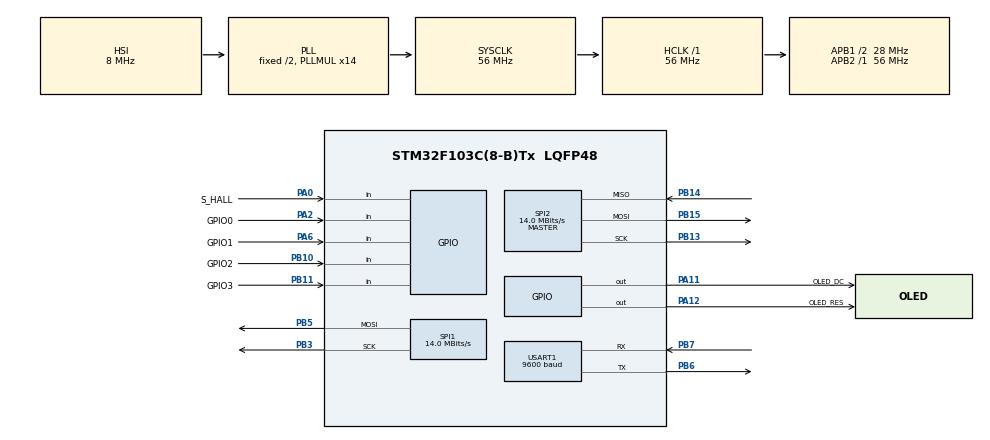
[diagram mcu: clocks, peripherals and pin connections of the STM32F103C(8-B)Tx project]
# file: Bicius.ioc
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Dma.Request0=USART1_RX
Dma.USART1_RX.0.Direction=DMA_PERIPH_TO_MEMORY
Dma.USART1_RX.0.Instance=DMA1_Channel5
Dma.USART1_RX.0.MemDataAlignment=DMA_MDATAALIGN_BYTE
Dma.USART1_RX.0.MemInc=DMA_MINC_ENABLE
Dma.USART1_RX.0.Mode=DMA_CIRCULAR
Dma.USART1_RX.0.PeriphDataAlignment=DMA_PDATAALIGN_BYTE
Dma.USART1_RX.0.PeriphInc=DMA_PINC_DISABLE
Dma.USART1_RX.0.Priority=DMA_PRIORITY_LOW
FATFS._FS_LOCK=1
FATFS._FS_MINIMIZE=2
FATFS._FS_NORTC=1
FATFS._FS_TINY=1
FATFS._NORTC_MDAY=26
FATFS._NORTC_MON=8
FATFS._NORTC_YEAR=1996
FATFS._USE_FASTSEEK=0
FATFS._USE_MKFS=0
Mcu.Family=STM32F1
Mcu.Name=STM32F103C(8-B)Tx
Mcu.Package=LQFP48
NVIC.DMA1_Channel5_IRQn=true\:0\:0\:false\:false\:true\:false\:true
NVIC.PriorityGroup=NVIC_PRIORITYGROUP_4
PA0-WKUP.GPIO_Label=S_HALL
PA0-WKUP.Signal=GPIO_Input
PA11.GPIO_Label=OLED_DC
PA11.Signal=GPIO_Output
PA12.GPIO_Label=OLED_RES
PA12.Signal=GPIO_Output
PA13.Mode=Serial_Wire
PA13.Signal=SYS_JTMS-SWDIO
PA14.Mode=Serial_Wire
PA14.Signal=SYS_JTCK-SWCLK
PA2.GPIO_Label=GPIO0
PA2.GPIO_PuPd=GPIO_PULLUP
PA2.Signal=GPIO_Input
PA6.GPIO_Label=GPIO1
PA6.GPIO_PuPd=GPIO_PULLUP
PA6.Signal=GPIO_Input
PB10.GPIO_Label=GPIO2
PB10.GPIO_PuPd=GPIO_PULLUP
PB10.Signal=GPIO_Input
PB11.GPIO_Label=GPIO3
PB11.GPIO_PuPd=GPIO_PULLUP
PB11.Signal=GPIO_Input
PB13.Mode=Full_Duplex_Master
PB13.Signal=SPI2_SCK
PB14.Mode=Full_Duplex_Master
PB14.Signal=SPI2_MISO
PB15.Mode=Full_Duplex_Master
PB15.Signal=SPI2_MOSI
PB3.Mode=TX_Only_Simplex_Unidirect_Master
PB3.Signal=SPI1_SCK
PB5.Mode=TX_Only_Simplex_Unidirect_Master
PB5.Signal=SPI1_MOSI
PB6.Mode=Asynchronous
PB6.Signal=USART1_TX
PB7.Mode=Asynchronous
PB7.Signal=USART1_RX
ProjectManager.HeapSize=0x200
ProjectManager.StackSize=0x400
ProjectManager.TargetToolchain=STM32CubeIDE
RCC.AHBFreq_Value=56000000
RCC.APB1CLKDivider=RCC_HCLK_DIV2
RCC.APB1Freq_Value=28000000
RCC.APB1TimFreq_Value=56000000
RCC.APB2Freq_Value=56000000
RCC.APB2TimFreq_Value=56000000
RCC.HCLKFreq_Value=56000000
RCC.PLLMUL=RCC_PLL_MUL14
RCC.SYSCLKFreq_VALUE=56000000
RCC.SYSCLKSource=RCC_SYSCLKSOURCE_PLLCLK
RCC.USBFreq_Value=56000000
SPI1.BaudRatePrescaler=SPI_BAUDRATEPRESCALER_4
SPI1.CalculateBaudRate=14.0 MBits/s
SPI1.Direction=SPI_DIRECTION_2LINES
SPI1.Mode=SPI_MODE_MASTER
SPI1.VirtualType=VM_MASTER
SPI2.BaudRatePrescaler=SPI_BAUDRATEPRESCALER_2
SPI2.CalculateBaudRate=14.0 MBits/s
SPI2.Direction=SPI_DIRECTION_2LINES
SPI2.Mode=SPI_MODE_MASTER
SPI2.VirtualType=VM_MASTER
USART1.BaudRate=9600
USART1.Mode=MODE_RX
USART1.VirtualMode=VM_ASYNC
VP_FATFS_VS_Generic.Mode=User_defined
board=custom

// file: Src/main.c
/* USER CODE BEGIN Header */
/**
  ******************************************************************************
  * @file           : main.c
  * @brief          : Main program body
  ******************************************************************************
  * @attention
  *
  * <h2><center>&copy; Copyright (c) 2019 STMicroelectronics.
  * All rights reserved.</center></h2>
  *
  * This software component is licensed by ST under BSD 3-Clause license,
  * the "License"; You may not use this file except in compliance with the
  * License. You may obtain a copy of the License at:
  *                        opensource.org/licenses/BSD-3-Clause
  *
  ******************************************************************************
  */
/* USER CODE END Header */

#include "main.h"
#include "fatfs.h"

/* USER CODE BEGIN Includes */
#include "App/variables_globales.h"
#include "App/tarea_OLED.h"
#include "App/tarea_TIMER.h"
#include "App/tarea_GPS.h"
#include "App/tarea_MAIN.h"
#include "App/tarea_GPIO.h"
#include "App/tarea_SD.h"
#include "App/User_interface.h"
#include "printf.h"
/* USER CODE END Includes */

/* USER CODE BEGIN PD */
#define WCET_TIMER	   1100
#define WCET_GPIO	   1400
#define WCET_MAIN	  15000

#define WCET_OLED	1028000
#define WCET_GPS	7172000

#define WCET_SD		8200000
/* USER CODE END PD */

SPI_HandleTypeDef hspi1;
SPI_HandleTypeDef hspi2;

UART_HandleTypeDef huart1;
DMA_HandleTypeDef hdma_usart1_rx;

void SystemClock_Config(void);
static void MX_GPIO_Init(void);
static void MX_DMA_Init(void);
static void MX_SPI1_Init(void);
static void MX_SPI2_Init(void);
static void MX_USART1_UART_Init(void);

/* USER CODE BEGIN 0 */
uint8_t UART_RX_BUFFER[SIZE_UART_RX_BUFFER];

char OLED_UP_BUFFER[SIZE_OLED_UP_BUFFER];
char OLED_DOWN_BUFFER[SIZE_OLED_DOWN_BUFFER];
char OLED_LEFT_BUFFER[SIZE_OLED_LEFT_BUFFER];
char OLED_RIGHT_BUFFER[SIZE_OLED_RIGHT_BUFFER];
char OLED_LEFT_UNITS_BUFFER[SIZE_OLED_LEFT_UNITS_BUFFER];
char OLED_RIGHT_UNITS_BUFFER[SIZE_OLED_RIGHT_UNITS_BUFFER];

int milliseconds;
int seconds;
int minutes;
int hours;

uint32_t cnt;
uint32_t digito_on;

//Variables reloj
int clk_hours=0;
int clk_minutes=0;

FATFS fs;
FIL file;
User_interface UIX;

float distancia;

uint32_t wcet_GPIO=0;
uint32_t wcet_TIMER=0;
uint32_t wcet_GPS=0;
uint32_t wcet_MAIN=0;
uint32_t wcet_OLED=0;
uint32_t wcet_SD=0;
/* USER CODE END 0 */

int main(void)
{
  /* USER CODE BEGIN 1 */
	uint32_t tick=0;
  /* USER CODE END 1 */

  /* MCU Configuration--------------------------------------------------------*/

  /* Reset of all peripherals, Initializes the Flash interface and the Systick. */
  HAL_Init();

  /* Configure the system clock */
  SystemClock_Config();

  /* Initialize all configured peripherals */
  MX_GPIO_Init();
  MX_DMA_Init();
  MX_SPI1_Init();
  MX_SPI2_Init();
  MX_FATFS_Init();
  MX_USART1_UART_Init();
  /* USER CODE BEGIN 2 */

  //Pantalla
  OLED_Init();
  dibujar_bordes();

  //Contador del sistema
  ITM->LAR = 0xC5ACCE55; // unlock (CM7)
  CoreDebug->DEMCR |= CoreDebug_DEMCR_TRCENA_Msk;
  DWT->CYCCNT = 0; // reset the counter
  DWT->CTRL |= ITM_TCR_ITMENA_Msk; // enable the counter

  //SD
  fcheck(f_mount(&fs, "", 1));
  fcheck(f_open(&file, "log.txt", FA_OPEN_ALWAYS | FA_READ | FA_WRITE));

  //máquina de estados
  user_interface_init(&UIX);
  user_interface_enter(&UIX);

  /* USER CODE END 2 */

  /* Infinite loop */
  /* USER CODE BEGIN WHILE */
  DWT->CYCCNT = 0;

  while (1)
  {
    /* USER CODE END WHILE */

    /* USER CODE BEGIN 3 */
//	  WCET_calc(tarea_GPIO, WCET_GPIO);
//	  WCET_calc(tarea_TIMER, WCET_TIMER);
//	  WCET_calc(tarea_GPS, WCET_GPS);
//	  WCET_calc(tarea_MAIN, WCET_MAIN);
//	  WCET_calc(tarea_OLED, WCET_OLED);
//	  WCET_calc(tarea_SD, WCET_SD);
//
	  switch(tick)
	  {
	  case 0:
		  WCET_calc(tarea_GPIO, WCET_GPIO);
		  WCET_calc(tarea_TIMER, WCET_TIMER);
		  WCET_calc(tarea_MAIN, WCET_MAIN);

		  WCET_calc(tarea_GPS, WCET_GPS);
		  WCET_calc(tarea_OLED, WCET_OLED);
		  tick=1;
		  break;
	  case 1:
		  WCET_calc(tarea_GPIO, WCET_GPIO);
		  WCET_calc(tarea_TIMER, WCET_TIMER);
		  WCET_calc(tarea_MAIN, WCET_MAIN);

		  WCET_calc(tarea_SD, WCET_SD);
		  tick=0;
		  break;
	  default:
		  falla(1);
	  }

	  __WFI();

  }
  /* USER CODE END 3 */
}

void SystemClock_Config(void)
{
  RCC_OscInitTypeDef RCC_OscInitStruct = {0};
  RCC_ClkInitTypeDef RCC_ClkInitStruct = {0};

  /** Initializes the CPU, AHB and APB busses clocks
  */
  RCC_OscInitStruct.OscillatorType = RCC_OSCILLATORTYPE_HSI;
  RCC_OscInitStruct.HSIState = RCC_HSI_ON;
  RCC_OscInitStruct.HSICalibrationValue = RCC_HSICALIBRATION_DEFAULT;
  RCC_OscInitStruct.PLL.PLLState = RCC_PLL_ON;
  RCC_OscInitStruct.PLL.PLLSource = RCC_PLLSOURCE_HSI_DIV2;
  RCC_OscInitStruct.PLL.PLLMUL = RCC_PLL_MUL14;
  if (HAL_RCC_OscConfig(&RCC_OscInitStruct) != HAL_OK)
  {
    Error_Handler();
  }
  /** Initializes the CPU, AHB and APB busses clocks
  */
  RCC_ClkInitStruct.ClockType = RCC_CLOCKTYPE_HCLK|RCC_CLOCKTYPE_SYSCLK
                              |RCC_CLOCKTYPE_PCLK1|RCC_CLOCKTYPE_PCLK2;
  RCC_ClkInitStruct.SYSCLKSource = RCC_SYSCLKSOURCE_PLLCLK;
  RCC_ClkInitStruct.AHBCLKDivider = RCC_SYSCLK_DIV1;
  RCC_ClkInitStruct.APB1CLKDivider = RCC_HCLK_DIV2;
  RCC_ClkInitStruct.APB2CLKDivider = RCC_HCLK_DIV1;

  if (HAL_RCC_ClockConfig(&RCC_ClkInitStruct, FLASH_LATENCY_2) != HAL_OK)
  {
    Error_Handler();
  }
}

static void MX_SPI1_Init(void)
{

  /* SPI1 parameter configuration*/
  hspi1.Instance = SPI1;
  hspi1.Init.Mode = SPI_MODE_MASTER;
  hspi1.Init.Direction = SPI_DIRECTION_2LINES;
  hspi1.Init.DataSize = SPI_DATASIZE_8BIT;
  hspi1.Init.CLKPolarity = SPI_POLARITY_LOW;
  hspi1.Init.CLKPhase = SPI_PHASE_1EDGE;
  hspi1.Init.NSS = SPI_NSS_SOFT;
  hspi1.Init.BaudRatePrescaler = SPI_BAUDRATEPRESCALER_4;
  hspi1.Init.FirstBit = SPI_FIRSTBIT_MSB;
  hspi1.Init.TIMode = SPI_TIMODE_DISABLE;
  hspi1.Init.CRCCalculation = SPI_CRCCALCULATION_DISABLE;
  hspi1.Init.CRCPolynomial = 10;
  if (HAL_SPI_Init(&hspi1) != HAL_OK)
  {
    Error_Handler();
  }

}

static void MX_SPI2_Init(void)
{

  /* SPI2 parameter configuration*/
  hspi2.Instance = SPI2;
  hspi2.Init.Mode = SPI_MODE_MASTER;
  hspi2.Init.Direction = SPI_DIRECTION_2LINES;
  hspi2.Init.DataSize = SPI_DATASIZE_8BIT;
  hspi2.Init.CLKPolarity = SPI_POLARITY_LOW;
  hspi2.Init.CLKPhase = SPI_PHASE_1EDGE;
  hspi2.Init.NSS = SPI_NSS_SOFT;
  hspi2.Init.BaudRatePrescaler = SPI_BAUDRATEPRESCALER_2;
  hspi2.Init.FirstBit = SPI_FIRSTBIT_MSB;
  hspi2.Init.TIMode = SPI_TIMODE_DISABLE;
  hspi2.Init.CRCCalculation = SPI_CRCCALCULATION_DISABLE;
  hspi2.Init.CRCPolynomial = 10;
  if (HAL_SPI_Init(&hspi2) != HAL_OK)
  {
    Error_Handler();
  }

}

static void MX_USART1_UART_Init(void)
{

  huart1.Instance = USART1;
  huart1.Init.BaudRate = 9600;
  huart1.Init.WordLength = UART_WORDLENGTH_8B;
  huart1.Init.StopBits = UART_STOPBITS_1;
  huart1.Init.Parity = UART_PARITY_NONE;
  huart1.Init.Mode = UART_MODE_RX;
  huart1.Init.HwFlowCtl = UART_HWCONTROL_NONE;
  huart1.Init.OverSampling = UART_OVERSAMPLING_16;
  if (HAL_UART_Init(&huart1) != HAL_OK)
  {
    Error_Handler();
  }
  /* USER CODE BEGIN USART1_Init 2 */

  //Uart por DMA sin interrupciones
    HAL_UART_Receive_DMA(&huart1,UART_RX_BUFFER,SIZE_UART_RX_BUFFER);
    HAL_NVIC_DisableIRQ(DMA1_Channel5_IRQn);

  /* USER CODE END USART1_Init 2 */

}

static void MX_DMA_Init(void)
{

  /* DMA controller clock enable */
  __HAL_RCC_DMA1_CLK_ENABLE();

  /* DMA interrupt init */
  /* DMA1_Channel5_IRQn interrupt configuration */
  HAL_NVIC_SetPriority(DMA1_Channel5_IRQn, 0, 0);
  HAL_NVIC_EnableIRQ(DMA1_Channel5_IRQn);

}

static void MX_GPIO_Init(void)
{
  GPIO_InitTypeDef GPIO_InitStruct = {0};

  /* GPIO Ports Clock Enable */
  __HAL_RCC_GPIOA_CLK_ENABLE();
  __HAL_RCC_GPIOB_CLK_ENABLE();

  /*Configure GPIO pin Output Level */
  HAL_GPIO_WritePin(GPIOA, OLED_DC_Pin|OLED_RES_Pin, GPIO_PIN_RESET);

  /*Configure GPIO pin : S_HALL_Pin */
  GPIO_InitStruct.Pin = S_HALL_Pin;
  GPIO_InitStruct.Mode = GPIO_MODE_INPUT;
  GPIO_InitStruct.Pull = GPIO_NOPULL;
  HAL_GPIO_Init(S_HALL_GPIO_Port, &GPIO_InitStruct);

  /*Configure GPIO pins : GPIO0_Pin GPIO1_Pin */
  GPIO_InitStruct.Pin = GPIO0_Pin|GPIO1_Pin;
  GPIO_InitStruct.Mode = GPIO_MODE_INPUT;
  GPIO_InitStruct.Pull = GPIO_PULLUP;
  HAL_GPIO_Init(GPIOA, &GPIO_InitStruct);

  /*Configure GPIO pins : GPIO2_Pin GPIO3_Pin */
  GPIO_InitStruct.Pin = GPIO2_Pin|GPIO3_Pin;
  GPIO_InitStruct.Mode = GPIO_MODE_INPUT;
  GPIO_InitStruct.Pull = GPIO_PULLUP;
  HAL_GPIO_Init(GPIOB, &GPIO_InitStruct);

  /*Configure GPIO pins : OLED_DC_Pin OLED_RES_Pin */
  GPIO_InitStruct.Pin = OLED_DC_Pin|OLED_RES_Pin;
  GPIO_InitStruct.Mode = GPIO_MODE_OUTPUT_PP;
  GPIO_InitStruct.Pull = GPIO_NOPULL;
  GPIO_InitStruct.Speed = GPIO_SPEED_FREQ_LOW;
  HAL_GPIO_Init(GPIOA, &GPIO_InitStruct);

}

/* USER CODE BEGIN 4 */
void WCET_calc(void (*ptr_funct)(void),uint32_t wcet)
{
	uint32_t et;

	DWT->CYCCNT = 0;
	ptr_funct();
	et=DWT->CYCCNT;
	if(et>wcet){
		falla(wcet);
	}
}

void falla(uint32_t err){
	snprintf_(OLED_UP_BUFFER, SIZE_OLED_UP_BUFFER, "ERROR:%5d",err);
	tarea_OLED();
	while(1);
}
/* USER CODE END 4 */

void Error_Handler(void)
{
}

/************************ (C) COPYRIGHT STMicroelectronics *****END OF FILE****/
